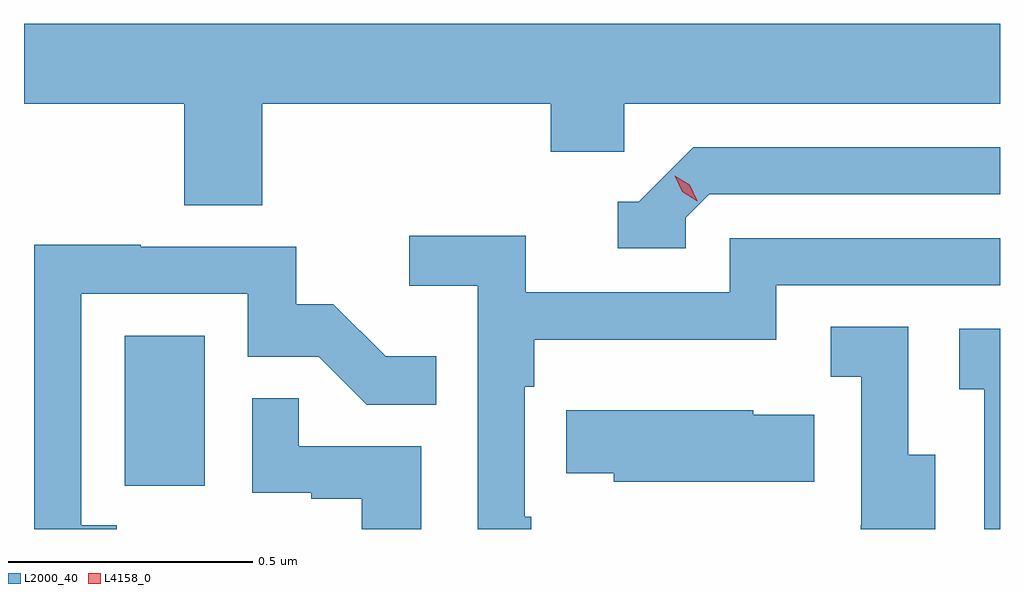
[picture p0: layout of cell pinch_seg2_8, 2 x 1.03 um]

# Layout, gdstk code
import gdstk
lib = gdstk.Library(unit=1e-6, precision=1e-09)
def R(c, l, rs):  # rectangles x0, y0, x1, y1
    for r in rs: c.add(gdstk.rectangle(r[:2], r[2:], *l))
def P(c, l, *ps):  # polygons
    for p in ps: c.add(gdstk.Polygon(p, *l))
L2000_40 = (2000, 40)
L4158_0 = (4158, 0)

pinch_seg2_8 = lib.new_cell('pinch_seg2_8')
R(pinch_seg2_8, L2000_40, [(1129.688,660.174,1129.852,660.481)])
P(pinch_seg2_8, L2000_40, [(1129.97,660.956),(1130.561,660.956),(1130.561,660.858),(1130.712,660.858),(1130.712,660.956),(1131.482,660.956),(1131.482,661.12),(1129.482,661.12),(1129.482,660.956),(1129.81,660.956),(1129.81,660.748),(1129.97,660.748)],
  [(1130.838,660.723),(1130.886,660.771),(1131.482,660.771),(1131.482,660.867),(1130.853,660.867),(1130.742,660.756),(1130.699,660.756),(1130.699,660.66),(1130.838,660.66)],
  [(1130.521,660.11),(1130.508,660.11),(1130.508,660.377),(1130.528,660.377),(1130.528,660.473),(1131.024,660.473),(1131.024,660.585),(1131.482,660.585),(1131.482,660.681),(1130.928,660.681),(1130.928,660.57),(1130.51,660.57),(1130.51,660.686),(1130.271,660.686),(1130.271,660.584),(1130.412,660.584),(1130.412,660.085),(1130.521,660.085)],
  [(1129.672,660.093),(1129.599,660.093),(1129.599,660.567),(1129.941,660.567),(1129.941,660.438),(1130.086,660.438),(1130.184,660.34),(1130.327,660.34),(1130.327,660.439),(1130.223,660.439),(1130.116,660.546),(1130.04,660.546),(1130.04,660.663),(1129.721,660.663),(1129.721,660.668),(1129.503,660.668),(1129.503,660.085),(1129.672,660.085)],
  [(1131.349,660.237),(1131.294,660.237),(1131.294,660.5),(1131.135,660.5),(1131.135,660.397),(1131.198,660.397),(1131.198,660.093),(1131.197,660.093),(1131.197,660.085),(1131.349,660.085)],
  [(1131.482,660.495),(1131.399,660.495),(1131.399,660.371),(1131.45,660.371),(1131.45,660.085),(1131.482,660.085)],
  [(1130.296,660.255),(1130.045,660.255),(1130.045,660.353),(1129.95,660.353),(1129.95,660.159),(1130.071,660.159),(1130.071,660.147),(1130.174,660.147),(1130.174,660.085),(1130.296,660.085)],
  [(1131.101,660.319),(1130.976,660.319),(1130.976,660.328),(1130.593,660.328),(1130.593,660.199),(1130.691,660.199),(1130.691,660.182),(1131.101,660.182)])
P(pinch_seg2_8, L4158_0, [(1130.862,660.757),(1130.831,660.776),(1130.815,660.809),(1130.815,660.809),(1130.815,660.809),(1130.846,660.79),(1130.862,660.758),(1130.862,660.757)])

lib.write_gds('pinch_seg2_8.gds')
